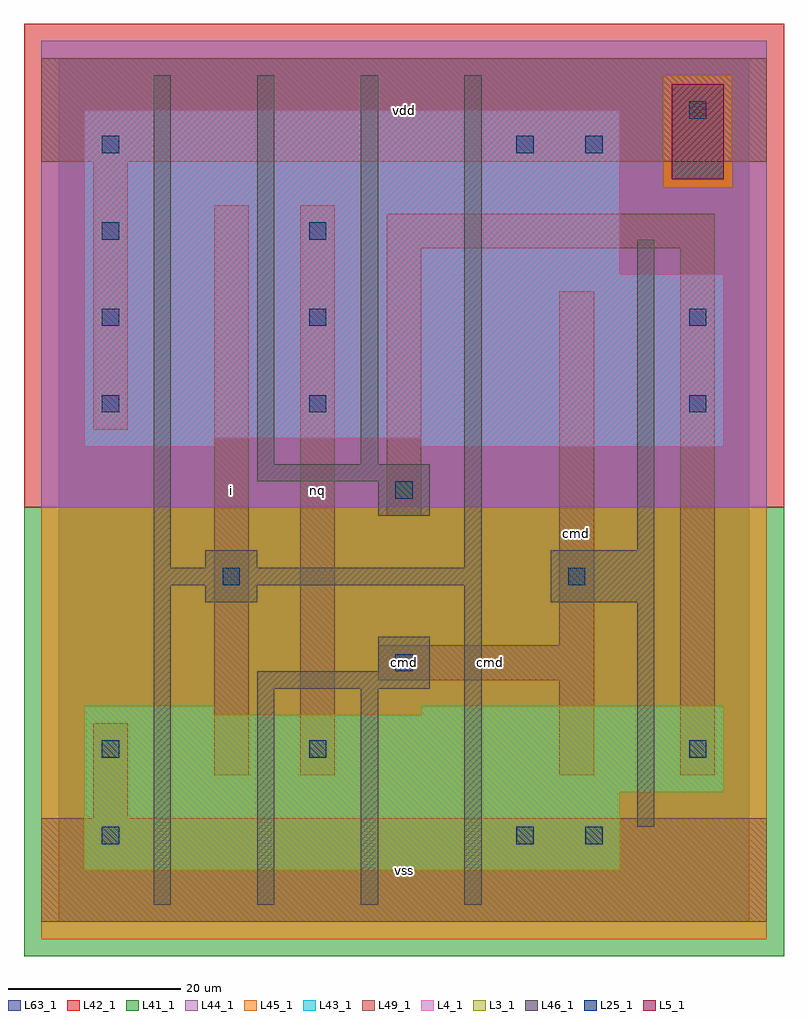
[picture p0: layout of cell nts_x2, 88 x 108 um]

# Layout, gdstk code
import gdstk
lib = gdstk.Library(unit=1e-6, precision=1e-09)
def R(c, l, rs):  # rectangles x0, y0, x1, y1
    for r in rs: c.add(gdstk.rectangle(r[:2], r[2:], *l))
def A(c, l, x, y, w, h, nx, ny, dx, dy):  # array of equal rectangles
    R(c, l, [(x+i*dx, y+j*dy, x+i*dx+w, y+j*dy+h) for i in range(nx) for j in range(ny)])
L3_1 = (3, 1)
L4_1 = (4, 1)
L5_1 = (5, 1)
L25_1 = (25, 1)
L41_1 = (41, 1)
L42_1 = (42, 1)
L43_1 = (43, 1)
L44_1 = (44, 1)
L45_1 = (45, 1)
L46_1 = (46, 1)
L49_1 = (49, 1)
L63_1 = (63, 1)

nts_x2 = lib.new_cell('nts_x2')
R(nts_x2, L3_1, [(3,6,65,15), (3,15,77,24), (3,24,18,25), (42,24,77,25)])
R(nts_x2, L4_1, [(3,55,18,56), (42,55,77,56), (3,56,77,75), (3,75,65,94)])
R(nts_x2, L5_1, [(71,86,77,97)])
A(nts_x2, L25_1, 5, 59, 2, 2, 1, 4, 0, 10)
A(nts_x2, L25_1, 29, 59, 2, 2, 1, 3, 0, 10)
R(nts_x2, L25_1, [(5,9,7,11), (53,9,55,11), (61,9,63,11), (5,19,7,21), (29,19,31,21), (73,19,75,21), (39,29,41,31), (19,39,21,41), (59,39,61,41), (39,49,41,51), (73,59,75,61), (73,69,75,71), (53,89,55,91), (61,89,63,91), (73,93,75,95)])
R(nts_x2, L41_1, [(-4,-4,84,48)])
R(nts_x2, L42_1, [(-4,48,84,104)])
R(nts_x2, L43_1, [(3,6,65,15), (3,15,77,24), (3,24,18,25), (42,24,77,25), (3,55,18,56), (42,55,77,56), (3,56,77,75), (3,75,65,94), (71,86,77,97)])
R(nts_x2, L44_1, [(-2,48,82,85), (-2,85,70,98), (78,85,82,98), (-2,98,82,102)])
R(nts_x2, L45_1, [(-2,-2,82,48), (70,85,78,98)])
R(nts_x2, L46_1, [(11,2,13,39), (23,2,25,27), (35,2,37,27), (47,2,49,39), (67,11,69,37), (23,27,43,29), (37,29,43,33), (17,37,23,39), (57,37,69,43), (11,39,49,41), (11,41,13,98), (17,41,23,43), (47,41,49,98), (67,43,69,79), (37,47,43,51), (23,51,43,53), (23,53,25,98), (35,53,37,98)])
R(nts_x2, L49_1, [(-2,0,82,12), (4,12,8,23), (18,17,22,83), (28,17,32,83), (58,17,62,28), (72,17,76,78), (37,28,62,32), (58,32,62,73), (38,47,42,78), (4,57,8,88), (38,78,76,82), (-2,88,82,100)])
R(nts_x2, L63_1, [(0,0,80,100)])
nts_x2.add(gdstk.Label('nq', (30,50), layer=49, texttype=1))
nts_x2.add(gdstk.Label('i', (20,50), layer=49, texttype=1))
nts_x2.add(gdstk.Label('vss', (40,6), layer=49, texttype=1))
nts_x2.add(gdstk.Label('cmd', (40,30), layer=49, texttype=1))
nts_x2.add(gdstk.Label('cmd', (50,30), layer=49, texttype=1))
nts_x2.add(gdstk.Label('vdd', (40,94), layer=49, texttype=1))
nts_x2.add(gdstk.Label('cmd', (60,45), layer=49, texttype=1))

lib.write_gds('nts_x2.gds')
